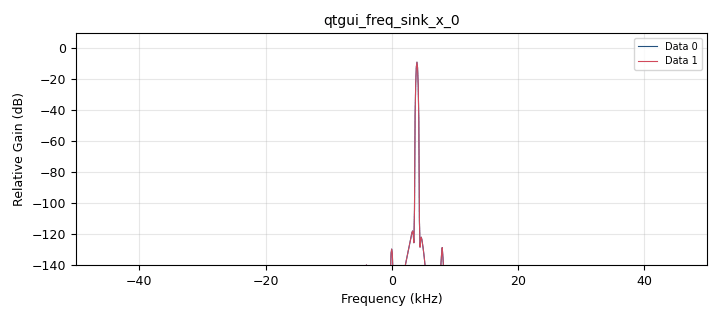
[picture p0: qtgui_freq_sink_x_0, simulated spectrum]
options:
  parameters:
    generate_options: qt_gui
    id: GettingComplex_MixingComplex
    output_language: python
    title: Mixing Complex
  states: {}

blocks:
- name: freq
  id: variable_qtgui_range
  parameters:
    outputmsgname: value
    showports: 'False'
    start: '-50e3'
    step: 10-3
    stop: 50e3
    value: '0'
  states: {}
- name: samp_rate
  id: variable
  parameters:
    value: 100e3
  states: {}
- name: analog_sig_source_x_0
  id: analog_sig_source_x
  parameters:
    amp: '1'
    freq: freq
    offset: '0'
    phase: '0'
    samp_rate: samp_rate
    type: complex
    waveform: analog.GR_COS_WAVE
  states: {}
- name: analog_sig_source_x_0_0
  id: analog_sig_source_x
  parameters:
    amp: '1'
    freq: 4e3
    offset: '0'
    phase: '0'
    samp_rate: samp_rate
    type: complex
    waveform: analog.GR_COS_WAVE
  states: {}
- name: blocks_multiply_xx_0
  id: blocks_multiply_xx
  parameters:
    type: complex
  states: {}
- name: blocks_throttle_0
  id: blocks_throttle
  parameters:
    samples_per_second: samp_rate
    type: complex
  states: {}
- name: qtgui_freq_sink_x_0
  id: qtgui_freq_sink_x
  parameters:
    bw: samp_rate
    fc: '0'
    fftsize: '1024'
    nconnections: '2'
    type: complex
  states: {}

connections:
- [analog_sig_source_x_0, '0', blocks_throttle_0, '0']
- [analog_sig_source_x_0_0, '0', blocks_multiply_xx_0, '1']
- [analog_sig_source_x_0_0, '0', qtgui_freq_sink_x_0, '1']
- [blocks_multiply_xx_0, '0', qtgui_freq_sink_x_0, '0']
- [blocks_throttle_0, '0', blocks_multiply_xx_0, '0']

metadata:
  file_format: 1
  grc_version: 3.10.4.0
